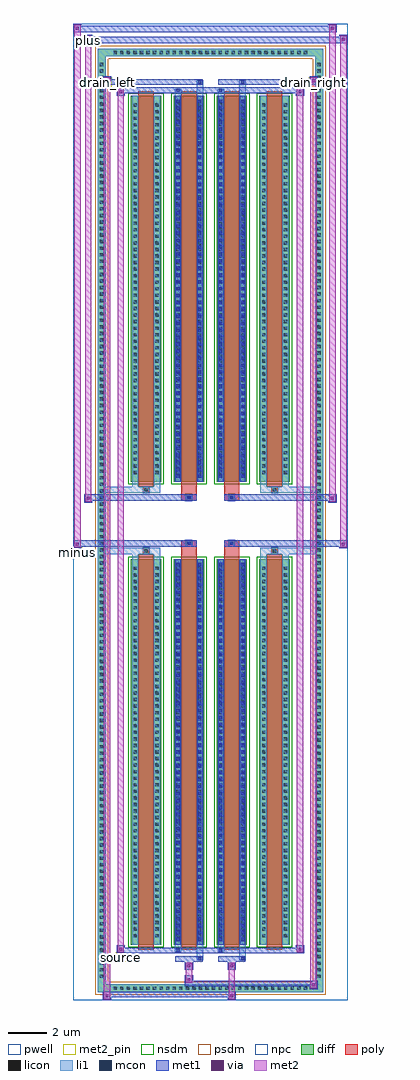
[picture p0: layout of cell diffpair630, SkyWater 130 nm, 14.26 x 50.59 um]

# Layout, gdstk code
import gdstk
lib = gdstk.Library(unit=1e-6, precision=5e-09)
def R(c, l, rs):  # rectangles x0, y0, x1, y1
    for r in rs: c.add(gdstk.rectangle(r[:2], r[2:], *l))
def A(c, l, x, y, w, h, nx, ny, dx, dy):  # array of equal rectangles
    R(c, l, [(x+i*dx, y+j*dy, x+i*dx+w, y+j*dy+h) for i in range(nx) for j in range(ny)])
def P(c, l, *ps):  # polygons
    for p in ps: c.add(gdstk.Polygon(p, *l))
pwell = (64, 44)
diff = (65, 20)
poly = (66, 20)
licon = (66, 44)
li1 = (67, 20)
mcon = (67, 44)
met1 = (68, 20)
via = (68, 44)
met2_pin = (69, 16)
met2 = (69, 20)
nsdm = (93, 44)
psdm = (94, 20)
npc = (95, 20)

diffpair630 = lib.new_cell('diffpair630')
R(diffpair630, pwell, [(-7.11,-24.86,7.11,25.73), (-4.43,-23.05,-0.01,-0.825), (0.01,-23.05,4.43,-0.825), (-4.43,0.825,-0.01,23.05), (0.01,0.825,4.43,23.05)])
A(diffpair630, diff, -5.135, -24.46, 0.41, 0.41, 30, 2, 0.34, 48.51)
A(diffpair630, diff, -5.84, -23.835, 0.41, 0.41, 1, 140, 0, 0.34)
A(diffpair630, diff, 5.43, -23.835, 0.41, 0.41, 1, 140, 0, 0.34)
A(diffpair630, diff, -4.12, -22.005, 1.58, 20, 4, 2, 2.22, 24.01)
R(diffpair630, diff, [(-5.135,-24.46,5.135,-24.05), (-5.84,-23.835,-5.43,23.835), (5.43,-23.835,5.84,23.835), (-5.135,24.05,5.135,24.46)])
P(diffpair630, diff, [(5.84,24.46),(-5.84,24.46),(-5.84,-24.05),(-5.43,-24.05),(-5.43,24.05),(5.43,24.05),(5.43,-24.05),(-5.43,-24.05),(-5.84,-24.05),(-5.84,-24.46),(5.84,-24.46)])
A(diffpair630, poly, -3.73, -22.255, 0.8, 20.5, 4, 2, 2.22, 24.01)
R(diffpair630, poly, [(-3.495,-1.755,-3.165,-1.425), (-3.495,-1.755,-3.165,-1.425), (-1.51,-1.755,-0.71,-1.355), (0.71,-1.755,1.51,-1.355), (3.165,-1.755,3.495,-1.425), (3.165,-1.755,3.495,-1.425), (-1.51,-1.355,-0.71,-1.025), (-1.275,-1.355,-0.945,-1.025), (0.71,-1.355,1.51,-1.025), (0.945,-1.355,1.275,-1.025), (-1.51,1.025,-0.71,1.355), (-1.275,1.025,-0.945,1.355), (0.71,1.025,1.51,1.355), (0.945,1.025,1.275,1.355), (-1.51,1.355,-0.71,1.755), (0.71,1.355,1.51,1.755), (-3.495,1.425,-3.165,1.755), (-3.495,1.425,-3.165,1.755), (3.165,1.425,3.495,1.755), (3.165,1.425,3.495,1.755)])
A(diffpair630, licon, -5.015, -24.34, 0.17, 0.17, 30, 2, 0.34, 48.51)
A(diffpair630, licon, -5.72, -23.715, 0.17, 0.17, 1, 140, 0, 0.34)
A(diffpair630, licon, 5.55, -23.715, 0.17, 0.17, 1, 140, 0, 0.34)
A(diffpair630, licon, -3.98, -21.61, 0.17, 0.17, 1, 57, 0, 0.34)
A(diffpair630, licon, -2.85, -21.61, 0.17, 0.17, 1, 57, 0, 0.34)
A(diffpair630, licon, -1.76, -21.61, 0.17, 0.17, 1, 57, 0, 0.34)
A(diffpair630, licon, -0.63, -21.61, 0.17, 0.17, 1, 57, 0, 0.34)
A(diffpair630, licon, 0.46, -21.61, 0.17, 0.17, 1, 57, 0, 0.34)
A(diffpair630, licon, 1.59, -21.61, 0.17, 0.17, 1, 57, 0, 0.34)
A(diffpair630, licon, 2.68, -21.61, 0.17, 0.17, 1, 57, 0, 0.34)
A(diffpair630, licon, 3.81, -21.61, 0.17, 0.17, 1, 57, 0, 0.34)
A(diffpair630, licon, -3.98, 2.4, 0.17, 0.17, 1, 57, 0, 0.34)
A(diffpair630, licon, -2.85, 2.4, 0.17, 0.17, 1, 57, 0, 0.34)
A(diffpair630, licon, -1.76, 2.4, 0.17, 0.17, 1, 57, 0, 0.34)
A(diffpair630, licon, -0.63, 2.4, 0.17, 0.17, 1, 57, 0, 0.34)
A(diffpair630, licon, 0.46, 2.4, 0.17, 0.17, 1, 57, 0, 0.34)
A(diffpair630, licon, 1.59, 2.4, 0.17, 0.17, 1, 57, 0, 0.34)
A(diffpair630, licon, 2.68, 2.4, 0.17, 0.17, 1, 57, 0, 0.34)
A(diffpair630, licon, 3.81, 2.4, 0.17, 0.17, 1, 57, 0, 0.34)
R(diffpair630, licon, [(-3.415,-1.675,-3.245,-1.505), (3.245,-1.675,3.415,-1.505), (-1.195,-1.275,-1.025,-1.105), (1.025,-1.275,1.195,-1.105), (-1.195,1.105,-1.025,1.275), (1.025,1.105,1.195,1.275), (-3.415,1.505,-3.245,1.675), (3.245,1.505,3.415,1.675)])
A(diffpair630, li1, -5.095, -24.42, 0.33, 0.33, 30, 2, 0.34, 48.51)
A(diffpair630, li1, -5.8, -23.795, 0.33, 0.33, 1, 140, 0, 0.34)
A(diffpair630, li1, 5.47, -23.795, 0.33, 0.33, 1, 140, 0, 0.34)
A(diffpair630, li1, -1.76, -21.81, 0.17, 0.17, 1, 55, 0, 0.36)
A(diffpair630, li1, -0.63, -21.81, 0.17, 0.17, 1, 55, 0, 0.36)
A(diffpair630, li1, 0.46, -21.81, 0.17, 0.17, 1, 55, 0, 0.36)
A(diffpair630, li1, 1.59, -21.81, 0.17, 0.17, 1, 55, 0, 0.36)
A(diffpair630, li1, -4.06, -21.69, 0.33, 0.33, 1, 57, 0, 0.34)
A(diffpair630, li1, -2.93, -21.69, 0.33, 0.33, 1, 57, 0, 0.34)
A(diffpair630, li1, -1.84, -21.69, 0.33, 0.33, 1, 57, 0, 0.34)
A(diffpair630, li1, -0.71, -21.69, 0.33, 0.33, 1, 57, 0, 0.34)
A(diffpair630, li1, 0.38, -21.69, 0.33, 0.33, 1, 57, 0, 0.34)
A(diffpair630, li1, 1.51, -21.69, 0.33, 0.33, 1, 57, 0, 0.34)
A(diffpair630, li1, 2.6, -21.69, 0.33, 0.33, 1, 57, 0, 0.34)
A(diffpair630, li1, 3.73, -21.69, 0.33, 0.33, 1, 57, 0, 0.34)
A(diffpair630, li1, -1.76, 2.2, 0.17, 0.17, 1, 55, 0, 0.36)
A(diffpair630, li1, -0.63, 2.2, 0.17, 0.17, 1, 55, 0, 0.36)
A(diffpair630, li1, 0.46, 2.2, 0.17, 0.17, 1, 55, 0, 0.36)
A(diffpair630, li1, 1.59, 2.2, 0.17, 0.17, 1, 55, 0, 0.36)
A(diffpair630, li1, -4.06, 2.32, 0.33, 0.33, 1, 57, 0, 0.34)
A(diffpair630, li1, -2.93, 2.32, 0.33, 0.33, 1, 57, 0, 0.34)
A(diffpair630, li1, -1.84, 2.32, 0.33, 0.33, 1, 57, 0, 0.34)
A(diffpair630, li1, -0.71, 2.32, 0.33, 0.33, 1, 57, 0, 0.34)
A(diffpair630, li1, 0.38, 2.32, 0.33, 0.33, 1, 57, 0, 0.34)
A(diffpair630, li1, 1.51, 2.32, 0.33, 0.33, 1, 57, 0, 0.34)
A(diffpair630, li1, 2.6, 2.32, 0.33, 0.33, 1, 57, 0, 0.34)
A(diffpair630, li1, 3.73, 2.32, 0.33, 0.33, 1, 57, 0, 0.34)
R(diffpair630, li1, [(-5.84,-24.46,-5.43,-24.05), (-5.84,-24.46,-5.43,-24.05), (-5.43,-24.46,5.43,-24.05), (5.43,-24.46,5.84,-24.05), (5.43,-24.46,5.84,-24.05), (-5.84,-24.05,-5.43,24.05), (5.43,-24.05,5.84,24.05), (-0.71,-22.81,-0.38,-22.005), (-0.63,-22.81,-0.46,-22.64), (1.51,-22.81,1.84,-22.005), (1.59,-22.81,1.76,-22.64), (-1.84,-22.38,-1.51,-22.005), (-1.76,-22.38,-1.59,-22.21), (0.38,-22.38,0.71,-22.005), (0.46,-22.38,0.63,-22.21), (-4.06,-22.005,-3.73,-2.005), (-2.93,-22.005,-2.6,-2.005), (-1.84,-22.005,-1.51,-2.005), (-0.71,-22.005,-0.38,-2.005), (0.38,-22.005,0.71,-2.005), (1.51,-22.005,1.84,-2.005), (2.6,-22.005,2.93,-2.005), (3.73,-22.005,4.06,-2.005), (-1.76,-21.81,-1.59,-2.2), (-0.63,-21.81,-0.46,-2.2), (0.46,-21.81,0.63,-2.2), (1.59,-21.81,1.76,-2.2), (-4.06,-2.005,-3.73,-1.425), (-2.93,-2.005,-2.6,-1.425), (2.6,-2.005,2.93,-1.425), (3.73,-2.005,4.06,-1.425), (-5.84,-1.755,-3.495,-1.425), (-4.06,-1.755,-3.495,-1.425), (-3.495,-1.755,-3.165,-1.425), (-3.165,-1.755,-2.6,-1.425), (2.6,-1.755,3.165,-1.425), (3.165,-1.755,3.495,-1.425), (3.165,-1.755,5.84,-1.425), (3.495,-1.755,4.06,-1.425), (-1.275,-1.355,-0.945,-1.025), (0.945,-1.355,1.275,-1.025), (-1.275,1.025,-0.945,1.355), (0.945,1.025,1.275,1.355), (-5.84,1.425,-3.495,1.755), (-4.06,1.425,-3.495,1.755), (-4.06,1.425,-3.73,2.005), (-3.495,1.425,-3.165,1.755), (-3.165,1.425,-2.6,1.755), (-2.93,1.425,-2.6,2.005), (2.6,1.425,3.165,1.755), (2.6,1.425,2.93,2.005), (3.165,1.425,3.495,1.755), (3.165,1.425,5.84,1.755), (3.495,1.425,4.06,1.755), (3.73,1.425,4.06,2.005), (-4.06,2.005,-3.73,22.005), (-2.93,2.005,-2.6,22.005), (-1.84,2.005,-1.51,22.005), (-0.71,2.005,-0.38,22.005), (0.38,2.005,0.71,22.005), (1.51,2.005,1.84,22.005), (2.6,2.005,2.93,22.005), (3.73,2.005,4.06,22.005), (-1.76,2.2,-1.59,21.81), (-0.63,2.2,-0.46,21.81), (0.46,2.2,0.63,21.81), (1.59,2.2,1.76,21.81), (-1.84,22.005,-1.51,22.38), (-0.71,22.005,-0.38,22.81), (0.38,22.005,0.71,22.38), (1.51,22.005,1.84,22.81), (-1.76,22.21,-1.59,22.38), (0.46,22.21,0.63,22.38), (-0.63,22.64,-0.46,22.81), (1.59,22.64,1.76,22.81), (-5.84,24.05,-5.43,24.46), (-5.84,24.05,-5.43,24.46), (-5.43,24.05,5.43,24.46), (5.43,24.05,5.84,24.46), (5.43,24.05,5.84,24.46)])
A(diffpair630, mcon, -1.76, -21.81, 0.17, 0.17, 1, 55, 0, 0.36)
A(diffpair630, mcon, -0.63, -21.81, 0.17, 0.17, 1, 55, 0, 0.36)
A(diffpair630, mcon, 0.46, -21.81, 0.17, 0.17, 1, 55, 0, 0.36)
A(diffpair630, mcon, 1.59, -21.81, 0.17, 0.17, 1, 55, 0, 0.36)
A(diffpair630, mcon, -1.76, 2.2, 0.17, 0.17, 1, 55, 0, 0.36)
A(diffpair630, mcon, -0.63, 2.2, 0.17, 0.17, 1, 55, 0, 0.36)
A(diffpair630, mcon, 0.46, 2.2, 0.17, 0.17, 1, 55, 0, 0.36)
A(diffpair630, mcon, 1.59, 2.2, 0.17, 0.17, 1, 55, 0, 0.36)
R(diffpair630, mcon, [(-0.63,-22.81,-0.46,-22.64), (1.59,-22.81,1.76,-22.64), (-1.76,-22.38,-1.59,-22.21), (0.46,-22.38,0.63,-22.21), (-1.195,-1.275,-1.025,-1.105), (1.025,-1.275,1.195,-1.105), (-1.195,1.105,-1.025,1.275), (1.025,1.105,1.195,1.275), (-1.76,22.21,-1.59,22.38), (0.46,22.21,0.63,22.38), (-0.63,22.64,-0.46,22.81), (1.59,22.64,1.76,22.81)])
A(diffpair630, met1, -1.82, -21.87, 0.29, 0.29, 1, 55, 0, 0.36)
A(diffpair630, met1, -0.69, -21.87, 0.29, 0.29, 1, 55, 0, 0.36)
A(diffpair630, met1, 0.4, -21.87, 0.29, 0.29, 1, 55, 0, 0.36)
A(diffpair630, met1, 1.53, -21.87, 0.29, 0.29, 1, 55, 0, 0.36)
A(diffpair630, met1, -1.82, 2.14, 0.29, 0.29, 1, 55, 0, 0.36)
A(diffpair630, met1, -0.69, 2.14, 0.29, 0.29, 1, 55, 0, 0.36)
A(diffpair630, met1, 0.4, 2.14, 0.29, 0.29, 1, 55, 0, 0.36)
A(diffpair630, met1, 1.53, 2.14, 0.29, 0.29, 1, 55, 0, 0.36)
R(diffpair630, met1, [(-5.57,-24.86,-5.14,-24.43), (0.895,-24.86,1.325,-24.43), (-5.57,-24.72,1.325,-24.43), (5.14,-24.29,5.57,-23.86), (-1.325,-24.15,5.57,-23.86), (-1.325,-24.01,-0.895,-23.58), (-1.325,-23.3,-0.895,-22.87), (0.895,-23.3,1.325,-22.87), (-1.82,-22.87,-0.4,-22.58), (-0.69,-22.87,-0.4,-22.58), (0.4,-22.87,1.82,-22.58), (1.53,-22.87,1.82,-22.58), (-4.86,-22.44,-4.43,-22.01), (-4.86,-22.44,-1.82,-22.15), (-1.82,-22.44,-1.53,-22.15), (-1.82,-22.44,-0.4,-22.15), (-0.4,-22.44,0.4,-22.15), (0.4,-22.44,0.69,-22.15), (0.4,-22.44,1.82,-22.15), (1.82,-22.44,4.86,-22.15), (4.43,-22.44,4.86,-22.01), (-1.82,-22.005,-1.53,-2.005), (-0.69,-22.005,-0.4,-2.005), (0.4,-22.005,0.69,-2.005), (1.53,-22.005,1.82,-2.005), (-7.11,-1.455,-6.68,-1.025), (6.68,-1.455,7.11,-1.025), (-7.11,-1.355,-0.71,-1.025), (-1.51,-1.355,-0.71,-1.025), (0.71,-1.355,1.51,-1.025), (0.71,-1.355,7.11,-1.025), (-1.255,-1.335,-0.965,-1.045), (0.965,-1.335,1.255,-1.045), (-6.54,0.925,-6.11,1.355), (6.11,0.925,6.54,1.355), (-6.54,1.025,-1.51,1.355), (-1.51,1.025,-0.71,1.355), (0.71,1.025,1.51,1.355), (1.51,1.025,6.54,1.355), (-1.255,1.045,-0.965,1.335), (0.965,1.045,1.255,1.335), (-1.82,2.005,-1.53,22.005), (-0.69,2.005,-0.4,22.005), (0.4,2.005,0.69,22.005), (1.53,2.005,1.82,22.005), (-4.86,22.01,-4.43,22.44), (4.43,22.01,4.86,22.44), (-4.86,22.15,-1.82,22.44), (-1.82,22.15,-1.53,22.44), (-1.82,22.15,-0.4,22.44), (-0.4,22.15,0.4,22.44), (0.4,22.15,0.69,22.44), (0.4,22.15,1.82,22.44), (1.82,22.15,4.86,22.44), (-5.57,22.58,-5.14,23.01), (-5.57,22.58,-1.82,22.87), (-1.82,22.58,-0.4,22.87), (-0.69,22.58,-0.4,22.87), (0.4,22.58,1.82,22.87), (1.53,22.58,1.82,22.87), (1.82,22.58,5.57,22.87), (5.14,22.58,5.57,23.01), (-6.54,24.73,-6.11,25.16), (-6.54,24.73,-4.43,25.06), (-4.43,24.73,4.43,25.06), (4.43,24.73,7.11,25.06), (6.68,24.73,7.11,25.16), (-7.11,25.3,-6.68,25.73), (-7.11,25.3,-4.43,25.63), (-4.43,25.3,4.43,25.63), (4.43,25.3,6.54,25.63), (6.11,25.3,6.54,25.73)])
R(diffpair630, via, [(-5.43,-24.72,-5.28,-24.57), (1.035,-24.72,1.185,-24.57), (5.28,-24.15,5.43,-24), (-1.185,-23.87,-1.035,-23.72), (-1.185,-23.16,-1.035,-23.01), (1.035,-23.16,1.185,-23.01), (-4.72,-22.3,-4.57,-22.15), (4.57,-22.3,4.72,-22.15), (-6.97,-1.315,-6.82,-1.165), (6.82,-1.315,6.97,-1.165), (-6.4,1.065,-6.25,1.215), (6.25,1.065,6.4,1.215), (-4.72,22.15,-4.57,22.3), (4.57,22.15,4.72,22.3), (-5.43,22.72,-5.28,22.87), (5.28,22.72,5.43,22.87), (-6.4,24.87,-6.25,25.02), (6.82,24.87,6.97,25.02), (-6.97,25.44,-6.82,25.59), (6.25,25.44,6.4,25.59)])
R(diffpair630, met2_pin, [(-4.895,-22.89,-4.395,-22.39), (-7.145,-1.905,-6.645,-1.405), (-5.605,22.46,-5.105,22.96), (5.105,22.46,5.605,22.96), (-6.575,24.61,-6.075,25.11)])
R(diffpair630, met2, [(-5.52,-24.81,-5.19,-24.48), (-5.52,-24.81,-5.19,22.96), (0.945,-24.81,1.275,-24.48), (0.945,-24.48,1.275,-23.25), (5.19,-24.24,5.52,-23.91), (5.19,-24.24,5.52,22.96), (-1.275,-23.96,-0.945,-23.63), (-1.275,-23.63,-0.945,-23.25), (-1.275,-23.25,-0.945,-22.92), (0.945,-23.25,1.275,-22.92), (-4.81,-22.39,-4.48,-22.06), (-4.81,-22.39,-4.48,22.39), (4.48,-22.39,4.81,-22.06), (4.48,-22.39,4.81,22.39), (-7.06,-1.405,-6.73,-1.075), (-7.06,-1.405,-6.73,25.68), (6.73,-1.405,7.06,-1.075), (6.73,-1.405,7.06,25.11), (-6.49,0.975,-6.16,1.305), (-6.49,0.975,-6.16,25.11), (6.16,0.975,6.49,1.305), (6.16,0.975,6.49,25.68), (-4.81,22.06,-4.48,22.39), (4.48,22.06,4.81,22.39), (-5.52,22.63,-5.19,22.96), (5.19,22.63,5.52,22.96), (-6.49,24.78,-6.16,25.11), (6.73,24.78,7.06,25.11), (-7.06,25.35,-6.73,25.68), (6.16,25.35,6.49,25.68)])
P(diffpair630, met2, [(7.06,-1.405),(7.06,-1.405),(7.06,-1.075),(7.06,-1.075)],
  [(7.06,24.78),(7.06,24.78),(7.06,25.11),(7.06,25.11)],
  [(-6.73,-1.405),(-6.73,-1.405),(-6.73,-1.075),(-6.73,-1.075)],
  [(-6.73,25.35),(-6.73,25.35),(-6.73,25.68),(-6.73,25.68)],
  [(6.49,0.975),(6.49,0.975),(6.49,1.305),(6.49,1.305)],
  [(6.49,25.35),(6.49,25.35),(6.49,25.68),(6.49,25.68)],
  [(-6.16,0.975),(-6.16,0.975),(-6.16,1.305),(-6.16,1.305)],
  [(-6.16,24.78),(-6.16,24.78),(-6.16,25.11),(-6.16,25.11)],
  [(-5.19,-24.81),(-5.19,-24.81),(-5.19,-24.48),(-5.19,-24.48)],
  [(-5.19,22.63),(-5.19,22.63),(-5.19,22.96),(-5.19,22.96)],
  [(5.52,-24.24),(5.52,-24.24),(5.52,-23.91),(5.52,-23.91)],
  [(5.52,22.63),(5.52,22.63),(5.52,22.96),(5.52,22.96)],
  [(-4.48,-22.39),(-4.48,-22.39),(-4.48,-22.06),(-4.48,-22.06)],
  [(-4.48,22.06),(-4.48,22.06),(-4.48,22.39),(-4.48,22.39)],
  [(4.81,-22.39),(4.81,-22.39),(4.81,-22.06),(4.81,-22.06)],
  [(4.81,22.06),(4.81,22.06),(4.81,22.39),(4.81,22.39)])
A(diffpair630, nsdm, -4.25, -22.135, 1.84, 20.26, 4, 2, 2.22, 24.01)
P(diffpair630, psdm, [(5.97,24.59),(-5.97,24.59),(-5.97,-23.92),(-5.3,-23.92),(-5.3,23.92),(5.3,23.92),(5.3,-23.92),(-5.3,-23.92),(-5.97,-23.92),(-5.97,-24.59),(5.97,-24.59)])
R(diffpair630, npc, [(-3.515,-1.775,-3.145,-1.405), (3.145,-1.775,3.515,-1.405), (-1.295,-1.375,-0.925,-1.005), (0.925,-1.375,1.295,-1.005), (-1.295,1.005,-0.925,1.375), (0.925,1.005,1.295,1.375), (-3.515,1.405,-3.145,1.775), (3.145,1.405,3.515,1.775)])
diffpair630.add(gdstk.Label('minus', (-6.895,-1.655), layer=69, texttype=5))
diffpair630.add(gdstk.Label('drain_right', (5.355,22.71), layer=69, texttype=5))
diffpair630.add(gdstk.Label('drain_left', (-5.355,22.71), layer=69, texttype=5))
diffpair630.add(gdstk.Label('source', (-4.645,-22.64), layer=69, texttype=5))
diffpair630.add(gdstk.Label('plus', (-6.325,24.86), layer=69, texttype=5))

lib.write_gds('diffpair630.gds')
